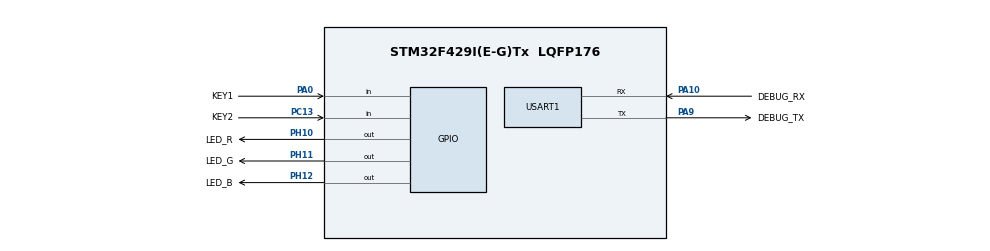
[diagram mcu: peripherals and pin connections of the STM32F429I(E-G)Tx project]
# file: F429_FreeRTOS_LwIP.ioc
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Mcu.Family=STM32F4
Mcu.Name=STM32F429I(E-G)Tx
Mcu.Package=LQFP176
NVIC.PriorityGroup=NVIC_PRIORITYGROUP_4
NVIC.USART1_IRQn=true\:0\:0\:false\:false\:true\:true\:true
PA0/WKUP.GPIO_Label=KEY1
PA0/WKUP.GPIO_PuPd=GPIO_PULLDOWN
PA0/WKUP.Signal=GPIO_Input
PA10.GPIO_Label=DEBUG_RX
PA10.Mode=Asynchronous
PA10.Signal=USART1_RX
PA9.GPIO_Label=DEBUG_TX
PA9.Mode=Asynchronous
PA9.Signal=USART1_TX
PC13.GPIO_Label=KEY2
PC13.GPIO_PuPd=GPIO_PULLDOWN
PC13.Signal=GPIO_Input
PH0/OSC_IN.Mode=HSE-External-Oscillator
PH0/OSC_IN.Signal=RCC_OSC_IN
PH1/OSC_OUT.Mode=HSE-External-Oscillator
PH1/OSC_OUT.Signal=RCC_OSC_OUT
PH10.GPIO_Label=LED_R
PH10.GPIO_Speed=GPIO_SPEED_FREQ_HIGH
PH10.PinState=GPIO_PIN_SET
PH10.Signal=GPIO_Output
PH11.GPIO_Label=LED_G
PH11.GPIO_Speed=GPIO_SPEED_FREQ_HIGH
PH11.PinState=GPIO_PIN_SET
PH11.Signal=GPIO_Output
PH12.GPIO_Label=LED_B
PH12.GPIO_Speed=GPIO_SPEED_FREQ_HIGH
PH12.PinState=GPIO_PIN_SET
PH12.Signal=GPIO_Output
ProjectManager.HeapSize=0x800
ProjectManager.StackSize=0x800
ProjectManager.TargetToolchain=MDK-ARM V5.27
RCC.48MHZClocksFreq_Value=90000000
RCC.AHBFreq_Value=180000000
RCC.APB1CLKDivider=RCC_HCLK_DIV4
RCC.APB1Freq_Value=45000000
RCC.APB1TimFreq_Value=90000000
RCC.APB2CLKDivider=RCC_HCLK_DIV2
RCC.APB2Freq_Value=90000000
RCC.APB2TimFreq_Value=180000000
RCC.CortexFreq_Value=180000000
RCC.HCLKFreq_Value=180000000
RCC.HSE_VALUE=25000000
RCC.HSI_VALUE=16000000
RCC.LSE_VALUE=32768
RCC.PLLM=15
RCC.PLLN=216
RCC.PLLSourceVirtual=RCC_PLLSOURCE_HSE
RCC.SYSCLKFreq_VALUE=180000000
RCC.SYSCLKSource=RCC_SYSCLKSOURCE_PLLCLK
RCC.VCOOutputFreq_Value=360000000
USART1.VirtualMode=VM_ASYNC
board=custom

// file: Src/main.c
/* USER CODE BEGIN Header */
/**
  ******************************************************************************
  * @file           : main.c
  * @brief          : Main program body
  ******************************************************************************
  * @attention
  *
  * <h2><center>&copy; Copyright (c) 2020 STMicroelectronics.
  * All rights reserved.</center></h2>
  *
  * This software component is licensed by ST under BSD 3-Clause license,
  * the "License"; You may not use this file except in compliance with the
  * License. You may obtain a copy of the License at:
  *                        opensource.org/licenses/BSD-3-Clause
  *
  ******************************************************************************
  */
/* USER CODE END Header */
#include "main.h"
#include "usart.h"
#include "gpio.h"

/* USER CODE BEGIN Includes */
/* FreeRTOS头文件 */
#include "FreeRTOS.h"
#include "task.h"
#include "queue.h"
//#include "netconn.h"
#include "MQTTClient.h"
#include "cJSON_Process.h"

/* USER CODE END Includes */

/* USER CODE BEGIN PV */
/**************************** 任务句柄 ********************************/
/*
 * 任务句柄是一个指针，用于指向一个任务，当任务创建好之后，它就具有了一个任务句柄
 * 以后我们要想操作这个任务都需要通过这个任务句柄，如果是自身的任务操作自己，那么
 * 这个句柄可以为NULL。
 */
static TaskHandle_t AppTaskCreate_Handle = NULL;/* 创建任务句柄 */
static TaskHandle_t Test1_Task_Handle = NULL;/* LED任务句柄 */
static TaskHandle_t Test2_Task_Handle = NULL;/* KEY任务句柄 */

QueueHandle_t MQTT_Data_Queue =NULL;
//消息队列太大会导致程序跑飞
#define  MQTT_QUEUE_LEN    4   /* 队列的长度，最大可包含多少个消息 */
#define  MQTT_QUEUE_SIZE   10   /* 队列中每个消息大小（字节） */

 uint8_t *Test_Ptr = NULL;
 uint32_t g_memsize;
/* USER CODE END PV */

void SystemClock_Config(void);
/* USER CODE BEGIN PFP */
/*
*************************************************************************
*                             函数声明
*************************************************************************
*/
static void AppTaskCreate(void);/* 用于创建任务 */

static void Test1_Task(void* pvParameters);/* Test1_Task任务实现 */
static void Test2_Task(void* pvParameters);/* Test2_Task任务实现 */

extern void TCPIP_Init(void);

/* USER CODE END PFP */

int main(void)
{
  /* USER CODE BEGIN 1 */
  BaseType_t xReturn = pdPASS;/* 定义一个创建信息返回值，默认为pdPASS */
  /* USER CODE END 1 */

  /* MCU Configuration--------------------------------------------------------*/

  /* Reset of all peripherals, Initializes the Flash interface and the Systick. */
  HAL_Init();

  /* Configure the system clock */
  SystemClock_Config();

  /* Initialize all configured peripherals */
  MX_GPIO_Init();
  MX_USART1_UART_Init();
  /* USER CODE BEGIN 2 */
	printf("串口初始化完成！");

/* 创建AppTaskCreate任务 */
  xReturn = xTaskCreate((TaskFunction_t )AppTaskCreate,  /* 任务入口函数 */
                        (const char*    )"AppTaskCreate",/* 任务名字 */
                        (uint16_t       )512,  /* 任务栈大小 */
                        (void*          )NULL,/* 任务入口函数参数 */
                        (UBaseType_t    )1, /* 任务的优先级 */
                        (TaskHandle_t*  )&AppTaskCreate_Handle);/* 任务控制块指针 */
  /* 启动任务调度 */
  if(pdPASS == xReturn)
    vTaskStartScheduler();   /* 启动任务，开启调度 */
  else
    return -1;

  /* USER CODE END 2 */

  /* Infinite loop */
  /* USER CODE BEGIN WHILE */
  while (1)
  {
//		if(KEY1_PUSH)LED_R_TOGGLE;
//		if(KEY2_PUSH)LED_B_TOGGLE;
    /* USER CODE END WHILE */

  }
}

static void SystemClock_Config(void)
{
  RCC_ClkInitTypeDef RCC_ClkInitStruct;
  RCC_OscInitTypeDef RCC_OscInitStruct;

  /* Enable Power Control clock */
  __HAL_RCC_PWR_CLK_ENABLE();

  /* 使能HSE，配置HSE为PLL的时钟源，配置PLL的各种分频因子M N P Q
	 * PLLCLK = HSE/M*N/P = 25M / 25 *432 / 2 = 216M
	 */
  __HAL_PWR_VOLTAGESCALING_CONFIG(PWR_REGULATOR_VOLTAGE_SCALE1);

  RCC_OscInitStruct.OscillatorType = RCC_OSCILLATORTYPE_HSE;
  RCC_OscInitStruct.HSEState = RCC_HSE_ON;
  RCC_OscInitStruct.PLL.PLLState = RCC_PLL_ON;
  RCC_OscInitStruct.PLL.PLLSource = RCC_PLLSOURCE_HSE;
  RCC_OscInitStruct.PLL.PLLM = 25;
  RCC_OscInitStruct.PLL.PLLN = 360;
  RCC_OscInitStruct.PLL.PLLP = RCC_PLLP_DIV2;
  RCC_OscInitStruct.PLL.PLLQ = 7;
  if(HAL_RCC_OscConfig(&RCC_OscInitStruct) != HAL_OK)
  {
   while(1) {}
  }

  /* 激活 OverDrive 模式 */
  HAL_PWREx_EnableOverDrive();

  /* 选择PLLCLK作为SYSCLK，并配置 HCLK, PCLK1 and PCLK2 的时钟分频因子
	 * SYSCLK = PLLCLK     = 180M
	 * HCLK   = SYSCLK / 1 = 180M
	 * PCLK2  = SYSCLK / 2 = 90M
	 * PCLK1  = SYSCLK / 4 = 45M
	 */
  RCC_ClkInitStruct.ClockType = (RCC_CLOCKTYPE_SYSCLK | RCC_CLOCKTYPE_HCLK | RCC_CLOCKTYPE_PCLK1 | RCC_CLOCKTYPE_PCLK2);
  RCC_ClkInitStruct.SYSCLKSource = RCC_SYSCLKSOURCE_PLLCLK;
  RCC_ClkInitStruct.AHBCLKDivider = RCC_SYSCLK_DIV1;
  RCC_ClkInitStruct.APB1CLKDivider = RCC_HCLK_DIV4;
  RCC_ClkInitStruct.APB2CLKDivider = RCC_HCLK_DIV2;
  if(HAL_RCC_ClockConfig(&RCC_ClkInitStruct, FLASH_LATENCY_5) != HAL_OK)
  {
    while(1) {}
  }

  HAL_SYSTICK_Config(HAL_RCC_GetHCLKFreq()/configTICK_RATE_HZ);
  HAL_SYSTICK_CLKSourceConfig(SYSTICK_CLKSOURCE_HCLK);
  /* SysTick_IRQn interrupt configuration */
  HAL_NVIC_SetPriority(SysTick_IRQn, 0, 0);
}

/* USER CODE BEGIN 4 */
/***********************************************************************
  * @ 函数名  ： AppTaskCreate
  * @ 功能说明： 为了方便管理，所有的任务创建函数都放在这个函数里面
  * @ 参数    ： 无
  * @ 返回值  ： 无
  **********************************************************************/
static void AppTaskCreate(void)
{
  BaseType_t xReturn = pdPASS;/* 定义一个创建信息返回值，默认为pdPASS */

	/* 创建Test_Queue */
  MQTT_Data_Queue = xQueueCreate((UBaseType_t ) MQTT_QUEUE_LEN,/* 消息队列的长度 */
                                 (UBaseType_t ) MQTT_QUEUE_SIZE);/* 消息的大小 */
  if(NULL != MQTT_Data_Queue)
  printf("创建MQTT_Data_Queue消息队列成功!\r\n");

  TCPIP_Init();
	mqtt_thread_init();

  printf("阿里云域名/IP地址 : %s \t 端口号 : %d \n\n",HOST_NAME,HOST_PORT);

  printf("阿里云CLIENT_ID : %s\n\n",CLIENT_ID);

  printf("阿里云USER_NAME : %s\n\n",USER_NAME);

  printf("阿里云PASSWORD : %s\n\n",PASSWORD);

  printf("阿里云TOPIC : %s\n\n",TOPIC);

  printf("阿里云TEST_MESSAGE : %s\n\n",TEST_MESSAGE);

  taskENTER_CRITICAL();           //进入临界区

  /* 创建Test1_Task任务 */
  xReturn = xTaskCreate((TaskFunction_t )Test1_Task, /* 任务入口函数 */
                        (const char*    )"Test1_Task",/* 任务名字 */
                        (uint16_t       )512,   /* 任务栈大小 */
                        (void*          )NULL,	/* 任务入口函数参数 */
                        (UBaseType_t    )1,	    /* 任务的优先级 */
                        (TaskHandle_t*  )&Test1_Task_Handle);/* 任务控制块指针 */
  if(pdPASS == xReturn)
    printf("Create Test1_Task sucess...\r\n");

  /* 创建Test2_Task任务 */
  xReturn = xTaskCreate((TaskFunction_t )Test2_Task,  /* 任务入口函数 */
                        (const char*    )"Test2_Task",/* 任务名字 */
                        (uint16_t       )512,  /* 任务栈大小 */
                        (void*          )NULL,/* 任务入口函数参数 */
                        (UBaseType_t    )2, /* 任务的优先级 */
                        (TaskHandle_t*  )&Test2_Task_Handle);/* 任务控制块指针 */
  if(pdPASS == xReturn)
    printf("Create Test2_Task sucess...\n\n");

  vTaskDelete(AppTaskCreate_Handle); //删除AppTaskCreate任务

  taskEXIT_CRITICAL();            //退出临界区
}

/**********************************************************************
  * @ 函数名  ： Test1_Task
  * @ 功能说明： Test1_Task任务主体
  * @ 参数    ：
  * @ 返回值  ： 无
  ********************************************************************/
static void Test1_Task(void* parameter)
{
  while (1)
  {
//		if (NULL == Test_Ptr)
//		{
//			g_memsize = xPortGetFreeHeapSize();
//			printf("系统当前内存大小为 %d 字节， 开始申请内存\n",g_memsize);
//			Test_Ptr = pvPortMalloc(1024);
//			if (NULL != Test_Ptr)
//			{
//				printf("内存申请成功！ \n");
//				printf("申请到的内存地址为%#x\n",(int)Test_Ptr);
//				g_memsize = xPortGetFreeHeapSize();
//				printf("系统当前内存剩余存大小为 %d 字节！ \n",g_memsize);
//			}
//		}
    vTaskDelay(1000);/* 延时1000个tick */
  }
}

/**********************************************************************
  * @ 函数名  ： Test2_Task
  * @ 功能说明： Test2_Task任务主体
  * @ 参数    ：
  * @ 返回值  ： 无
  ********************************************************************/
static void Test2_Task(void* parameter)
{
//	 BaseType_t xReturn = pdPASS;
//	uint32_t* recv_data;
  while (1)
  {
//		if (NULL != Test_Ptr)
//		{
//			printf("释放内存！");
//			vPortFree(Test_Ptr); //释放内存
//			Test_Ptr=NULL;
//			g_memsize = xPortGetFreeHeapSize();
//			printf("系统当前内存剩余存大小为 %d 字节！ \n",g_memsize);
//		}
//		    xReturn = xQueueReceive( MQTT_Data_Queue,    /* 消息队列的句柄 */
//                             &recv_data,      /* 发送的消息内容 */
//                             0); /* 等待时间 3000ms */

    vTaskDelay(1000);/* 延时2000个tick */
  }
}
/* USER CODE END 4 */

void Error_Handler(void)
{
  __disable_irq();
  while (1)
  {
  }
}

/************************ (C) COPYRIGHT STMicroelectronics *****END OF FILE****/
